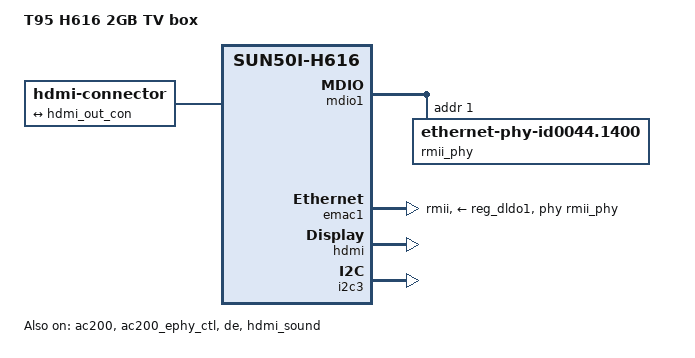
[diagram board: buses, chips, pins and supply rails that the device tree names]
// SPDX-License-Identifier: (GPL-2.0+ OR MIT)
/*
 * T95 H616 2GB TV box: LibreELEC variant. Adds HDMI display and the
 * AC200-EPHY wired Ethernet on top of the shared board file. Needs the
 * H616 display/EMAC1/AC200 nodes carried by LibreELEC's kernel patches;
 * wiring mirrors the X96 Mate board (vendor gmac1 delays 7/0x1f = 700/3100 ps).
 */

/dts-v1/;

#include "sun50i-h616.dtsi"
#include "sun50i-h616-t95-2gb.dtsi"

/ {
	model = "T95 H616 2GB TV box";
	compatible = "t95,t95-2gb", "allwinner,sun50i-h616";

	aliases {
		ethernet0 = &emac1;
	};

	connector {
		compatible = "hdmi-connector";
		type = "a";

		port {
			hdmi_con_in: endpoint {
				remote-endpoint = <&hdmi_out_con>;
			};
		};
	};
};

&ac200 {
	ac-ldoin-supply = <&reg_dldo1>;
	ephy-vcc-supply = <&reg_dldo1>;
	rtc-vcc-supply = <&reg_dldo1>;
	tv-vcc-supply = <&reg_dldo1>;
	status = "okay";
};

&ac200_ephy_ctl {
	phy-mode = "rmii";
	x-powers,phy-address = <1>;
	status = "okay";
};

&ac200_pwm_clk {
	status = "okay";
};

&ac300_ephy_package {
	vcc-supply = <&reg_dldo1>;
};

&de {
	status = "okay";
};

&mdio1 {
	rmii_phy: ethernet-phy@1 {
		compatible = "ethernet-phy-id0044.1400",
			     "ethernet-phy-ieee802.3-c22";
		reg = <1>;
		clocks = <&ac200_ephy_ctl>;
		resets = <&ac200_ephy_ctl>;
		reset-names = "phy";
	};
};

&emac1 {
	pinctrl-names = "default";
	pinctrl-0 = <&rmii_pins>;
	phy-mode = "rmii";
	phy-handle = <&rmii_phy>;
	phy-supply = <&reg_dldo1>;
	allwinner,rx-delay-ps = <3100>;
	allwinner,tx-delay-ps = <700>;
	status = "okay";
};

&hdmi {
	hvcc-supply = <&reg_vcc3v3>;
	status = "okay";
};

&hdmi_out {
	hdmi_out_con: endpoint {
		remote-endpoint = <&hdmi_con_in>;
	};
};

&hdmi_sound {
	status = "okay";
};

&i2c3 {
	pinctrl-names = "default";
	pinctrl-0 = <&i2c3_pa_pins>;
	status = "okay";
};
